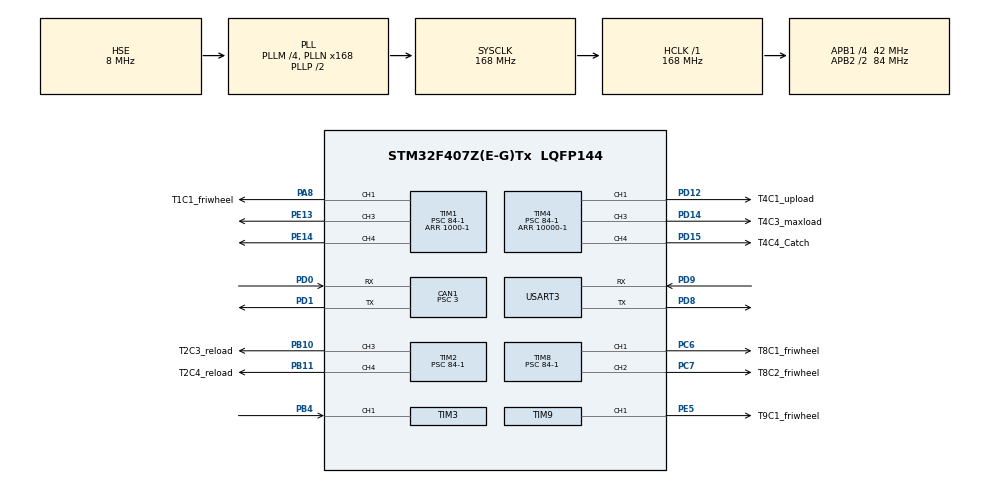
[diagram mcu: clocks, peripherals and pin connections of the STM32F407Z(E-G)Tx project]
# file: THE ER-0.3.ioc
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CAN1.ABOM=ENABLE
CAN1.BS1=CAN_BS1_9TQ
CAN1.BS2=CAN_BS2_4TQ
CAN1.CalculateBaudRate=1000000
CAN1.CalculateTimeBit=1000
CAN1.CalculateTimeQuantum=71.42857142857143
CAN1.Prescaler=3
Dma.Request0=USART3_RX
Dma.USART3_RX.0.Direction=DMA_PERIPH_TO_MEMORY
Dma.USART3_RX.0.FIFOMode=DMA_FIFOMODE_DISABLE
Dma.USART3_RX.0.Instance=DMA1_Stream1
Dma.USART3_RX.0.MemDataAlignment=DMA_MDATAALIGN_BYTE
Dma.USART3_RX.0.MemInc=DMA_MINC_ENABLE
Dma.USART3_RX.0.Mode=DMA_CIRCULAR
Dma.USART3_RX.0.PeriphDataAlignment=DMA_PDATAALIGN_BYTE
Dma.USART3_RX.0.PeriphInc=DMA_PINC_DISABLE
Dma.USART3_RX.0.Priority=DMA_PRIORITY_VERY_HIGH
FREERTOS.Tasks01=defaultTask,1,128,StartDefaultTask,Default,NULL,Dynamic,NULL,NULL;myTask02,0,128,StartTask02,Default,NULL,Dynamic,NULL,NULL;myTask03,0,128,StartTask03,Default,NULL,Dynamic,NULL,NULL;myTask04,-3,128,StartTask04,Default,NULL,Dynamic,NULL,NULL;myTask05,0,128,StartTask05,Default,NULL,Dynamic,NULL,NULL
Mcu.Family=STM32F4
Mcu.Name=STM32F407Z(E-G)Tx
Mcu.Package=LQFP144
NVIC.CAN1_RX0_IRQn=true\:5\:0\:false\:false\:true\:true\:true\:true\:true
NVIC.CAN1_TX_IRQn=true\:5\:0\:false\:false\:true\:true\:true\:true\:true
NVIC.DMA1_Stream1_IRQn=true\:5\:0\:false\:false\:true\:true\:false\:true\:true
NVIC.PriorityGroup=NVIC_PRIORITYGROUP_4
NVIC.TIM6_DAC_IRQn=true\:5\:0\:false\:false\:true\:true\:true\:true\:true
NVIC.TIM7_IRQn=true\:15\:0\:false\:false\:true\:false\:false\:true\:true
NVIC.TimeBase=TIM7_IRQn
NVIC.TimeBaseIP=TIM7
NVIC.USART3_IRQn=true\:5\:0\:false\:false\:true\:true\:true\:true\:true
PA13.Mode=Serial_Wire
PA13.Signal=SYS_JTMS-SWDIO
PA14.Mode=Serial_Wire
PA14.Signal=SYS_JTCK-SWCLK
PA8.GPIO_Label=T1C1_friwheel
PA8.Signal=S_TIM1_CH1
PB10.GPIO_Label=T2C3_reload
PB10.Signal=S_TIM2_CH3
PB11.GPIO_Label=T2C4_reload
PB11.Signal=S_TIM2_CH4
PB4.Signal=S_TIM3_CH1
PC6.GPIO_Label=T8C1_friwheel
PC6.Signal=S_TIM8_CH1
PC7.GPIO_Label=T8C2_friwheel
PC7.Signal=S_TIM8_CH2
PD0.Mode=CAN_Activate
PD0.Signal=CAN1_RX
PD1.Mode=CAN_Activate
PD1.Signal=CAN1_TX
PD12.GPIO_Label=T4C1_upload
PD12.Signal=S_TIM4_CH1
PD14.GPIO_Label=T4C3_maxload
PD14.Signal=S_TIM4_CH3
PD15.GPIO_Label=T4C4_Catch
PD15.Signal=S_TIM4_CH4
PD8.Mode=Asynchronous
PD8.Signal=USART3_TX
PD9.GPIO_PuPd=GPIO_PULLUP
PD9.Mode=Asynchronous
PD9.Signal=USART3_RX
PE13.Signal=S_TIM1_CH3
PE14.Signal=S_TIM1_CH4
PE5.GPIO_Label=T9C1_friwheel
PE5.Signal=S_TIM9_CH1
PH0-OSC_IN.Mode=HSE-External-Oscillator
PH0-OSC_IN.Signal=RCC_OSC_IN
PH1-OSC_OUT.Mode=HSE-External-Oscillator
PH1-OSC_OUT.Signal=RCC_OSC_OUT
ProjectManager.HeapSize=0x200
ProjectManager.StackSize=0x400
ProjectManager.TargetToolchain=MDK-ARM V5.32
RCC.48MHZClocksFreq_Value=84000000
RCC.AHBFreq_Value=168000000
RCC.APB1CLKDivider=RCC_HCLK_DIV4
RCC.APB1Freq_Value=42000000
RCC.APB1TimFreq_Value=84000000
RCC.APB2CLKDivider=RCC_HCLK_DIV2
RCC.APB2Freq_Value=84000000
RCC.APB2TimFreq_Value=168000000
RCC.CortexFreq_Value=168000000
RCC.EnbaleCSS=true
RCC.HCLKFreq_Value=168000000
RCC.HSE_VALUE=8000000
RCC.HSI_VALUE=16000000
RCC.LSE_VALUE=32768
RCC.PLLM=4
RCC.PLLN=168
RCC.PLLSourceVirtual=RCC_PLLSOURCE_HSE
RCC.SYSCLKFreq_VALUE=168000000
RCC.SYSCLKSource=RCC_SYSCLKSOURCE_PLLCLK
RCC.VCOOutputFreq_Value=336000000
SH.S_TIM1_CH1.0=TIM1_CH1,PWM Generation1 CH1
SH.S_TIM1_CH3.0=TIM1_CH3,PWM Generation3 CH3
SH.S_TIM1_CH4.0=TIM1_CH4,PWM Generation4 CH4
SH.S_TIM2_CH3.0=TIM2_CH3,PWM Generation3 CH3
SH.S_TIM2_CH4.0=TIM2_CH4,PWM Generation4 CH4
SH.S_TIM3_CH1.0=TIM3_CH1,PWM_Input_1
SH.S_TIM4_CH1.0=TIM4_CH1,PWM Generation1 CH1
SH.S_TIM4_CH3.0=TIM4_CH3,PWM Generation3 CH3
SH.S_TIM4_CH4.0=TIM4_CH4,PWM Generation4 CH4
SH.S_TIM8_CH1.0=TIM8_CH1,PWM Generation1 CH1
SH.S_TIM8_CH2.0=TIM8_CH2,PWM Generation2 CH2
SH.S_TIM9_CH1.0=TIM9_CH1,PWM Generation1 CH1
STMicroelectronics.X-CUBE-ALGOBUILD.1.3.0.LibraryCcDSPOoLibraryJjDSPOoLibrary=true
TIM1.Channel-PWM\ Generation1\ CH1=TIM_CHANNEL_1
TIM1.Channel-PWM\ Generation3\ CH3=TIM_CHANNEL_3
TIM1.Channel-PWM\ Generation4\ CH4=TIM_CHANNEL_4
TIM1.Period=1000-1
TIM1.Prescaler=84-1
TIM2.AutoReloadPreload=TIM_AUTORELOAD_PRELOAD_ENABLE
TIM2.Channel-PWM\ Generation3\ CH3=TIM_CHANNEL_3
TIM2.Channel-PWM\ Generation4\ CH4=TIM_CHANNEL_4
TIM2.Period=10000-1
TIM2.Prescaler=84-1
TIM3.Prescaler=2-1
TIM4.AutoReloadPreload=TIM_AUTORELOAD_PRELOAD_ENABLE
TIM4.Channel-PWM\ Generation1\ CH1=TIM_CHANNEL_1
TIM4.Channel-PWM\ Generation3\ CH3=TIM_CHANNEL_3
TIM4.Channel-PWM\ Generation4\ CH4=TIM_CHANNEL_4
TIM4.OCPolarity_3=TIM_OCPOLARITY_HIGH
TIM4.Period=10000-1
TIM4.Prescaler=84-1
TIM6.Period=10000-1
TIM6.Prescaler=84-1
TIM8.Channel-PWM\ Generation1\ CH1=TIM_CHANNEL_1
TIM8.Channel-PWM\ Generation2\ CH2=TIM_CHANNEL_2
TIM8.Period=10000-1
TIM8.Prescaler=84-1
TIM9.AutoReloadPreload=TIM_AUTORELOAD_PRELOAD_ENABLE
TIM9.Channel-PWM\ Generation1\ CH1=TIM_CHANNEL_1
TIM9.Period=10000-1
TIM9.Prescaler=84-1
USART3.VirtualMode=VM_ASYNC
VP_FREERTOS_VS_CMSIS_V1.Mode=CMSIS_V1
VP_IWDG_VS_IWDG.Mode=IWDG_Activate
VP_STMicroelectronics.X-CUBE-ALGOBUILD_VS_DSPOoLibraryJjLibrary_1.3.0_1.3.0.Mode=DSPOoLibraryJjLibrary
VP_SYS_VS_tim7.Mode=TIM7
VP_TIM1_VS_ClockSourceINT.Mode=Internal
VP_TIM2_VS_ClockSourceINT.Mode=Internal
VP_TIM3_VS_ClockSourceINT.Mode=Internal
VP_TIM4_VS_ClockSourceINT.Mode=Internal
VP_TIM6_VS_ClockSourceINT.Mode=Enable_Timer
VP_TIM8_VS_ClockSourceINT.Mode=Internal
VP_TIM9_VS_ClockSourceINT.Mode=Internal
board=custom

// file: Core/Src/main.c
/* USER CODE BEGIN Header */
/**
  ******************************************************************************
  * @file           : main.c
  * @brief          : Main program body
  ******************************************************************************
  * @attention
  *
  * Copyright (c) 2023 STMicroelectronics.
  * All rights reserved.
  *
  * This software is licensed under terms that can be found in the LICENSE file
  * in the root directory of this software component.
  * If no LICENSE file comes with this software, it is provided AS-IS.
  *
  ******************************************************************************
  */
/* USER CODE END Header */
#include "main.h"
#include "cmsis_os.h"
#include "can.h"
#include "dma.h"
#include "iwdg.h"
#include "tim.h"
#include "usart.h"
#include "gpio.h"

/* USER CODE BEGIN Includes */
#include "bsp_can.h"
#include <stdio.h>
#include <string.h>
#include "friction.h"
#include "pick.h"
#include "pitch.h"
#include "chassis.h"

#include "pitch_init.h"
/* USER CODE END Includes */

/* USER CODE BEGIN PTD */
/*

#define ch_vx_s1 	1
#define ch_vy_s1  0
#define ch_wx_s1 	3
#define ch_re_s1  2  // first to 160 than load
#define ch_up_s1  6  // tap to up load
#define ch_fr_s1  5  // up and donw // or
#define ch_ca_s1  4  // two type
#define ch_pi_s1  7  // the pich

*/

uint8_t receive_buff[8] = {127,127,255,127,127,127,0,0}; // init
uint8_t tx_buff[255];

int state = 0; // swatch dog

/* USER CODE END PTD */

void SystemClock_Config(void);
void MX_FREERTOS_Init(void);
/* USER CODE BEGIN PFP */
int32_t set_spd = 0;
/* USER CODE END PFP */

int main(void)
{

  /* MCU Configuration--------------------------------------------------------*/

  /* Reset of all peripherals, Initializes the Flash interface and the Systick. */
  HAL_Init();

  /* Configure the system clock */
  SystemClock_Config();

  /* Initialize all configured peripherals */
  MX_GPIO_Init();
  MX_DMA_Init();
  MX_CAN1_Init();
  MX_USART3_UART_Init();
  MX_TIM6_Init();
  MX_TIM1_Init();
  MX_TIM4_Init();
  MX_TIM8_Init();
  MX_TIM9_Init();
  MX_TIM3_Init();
  MX_TIM2_Init();
  MX_IWDG_Init();
  /* USER CODE BEGIN 2 */

	HAL_IWDG_Init(&hiwdg);

		HAL_TIM_PWM_Init(&htim1);
	__HAL_UART_ENABLE_IT(&huart3, UART_IT_IDLE);         //使能串UART1 IDLE中断
		HAL_UART_Receive_DMA(&huart3, (uint8_t*)receive_buff, 255);   //设置DMA传输，串�?1的数据搬运到recvive_buff中，

	can_filter_init();
	HAL_CAN_Start(&hcan1);
	HAL_CAN_ActivateNotification(&hcan1, CAN_IT_RX_FIFO0_MSG_PENDING);
	HAL_TIM_Base_Start_IT(&htim6);

	// friction wheel
	HAL_TIM_PWM_Start(&htim1, TIM_CHANNEL_1);
  HAL_TIM_PWM_Start(&htim8, TIM_CHANNEL_1);
  HAL_TIM_PWM_Start(&htim8, TIM_CHANNEL_2);
  HAL_TIM_PWM_Start(&htim9, TIM_CHANNEL_1);
	// friction wheel
	FRICTION_InitMotor(0, &htim1, &htim8, TIM_CHANNEL_1, TIM_CHANNEL_2);
  FRICTION_InitMotor(1, &htim8, &htim9, TIM_CHANNEL_1, TIM_CHANNEL_1);

	// upload servo
	HAL_TIM_PWM_Start(&htim4, TIM_CHANNEL_1); // PD 12
	PICK_InitMotor(0, &htim4, TIM_CHANNEL_1); // upload - 0

	PICK_Run_Pulse(0, 10000-2500);

//	HAL_Delay(500);
	// reload servo

	HAL_TIM_PWM_Start(&htim2, TIM_CHANNEL_3); // PB 10
	HAL_TIM_PWM_Start(&htim2, TIM_CHANNEL_4); // PB 11
	PICK_InitMotor(1, &htim2, TIM_CHANNEL_3); // reload- 1 the one 500
	PICK_InitMotor(2, &htim2, TIM_CHANNEL_4); // reload- 2

	PICK_Run_Pulse(1, 10000-510);
	PICK_Run_Pulse(2, 10000-(3000-510));

//	HAL_Delay(500);
	// maxload  servo

	// ingnore it first
	HAL_TIM_PWM_Start(&htim4, TIM_CHANNEL_3); // PD 14
	PICK_InitMotor(3, &htim4, TIM_CHANNEL_3); // max load- 3

	PICK_Run_Pulse(3, 10000-520);

//	HAL_Delay(500);
	// catch servo
	HAL_TIM_PWM_Start(&htim4, TIM_CHANNEL_4); // PD 15
	PICK_InitMotor(4, &htim4, TIM_CHANNEL_4); // catch- 4

	PICK_Run_Pulse(4, 10000-550);
	HAL_IWDG_Refresh(&hiwdg);

//	HAL_Delay(500);

	// pitch init
	HAL_TIM_PWM_Start(&htim1, TIM_CHANNEL_3);
	HAL_TIM_PWM_Start(&htim1, TIM_CHANNEL_4);
	HAL_TIM_IC_Start_IT(&htim3, TIM_CHANNEL_1);
  HAL_TIM_IC_Start_IT(&htim3, TIM_CHANNEL_2);
	Pitch_InitMotor(0, &htim1, &htim3, TIM_CHANNEL_4, TIM_CHANNEL_3, 1, 0, 0);
	pitch_init();

//	pid_pitch_control(180);

	// chassis_init
	chassis_init();

	CAN_cmd_chassis(0,0,0,0);

  /* USER CODE END 2 */

  /* Call init function for freertos objects (in freertos.c) */
  MX_FREERTOS_Init();

  /* Start scheduler */
  osKernelStart();
  /* We should never get here as control is now taken by the scheduler */
  /* Infinite loop */
  while (1)
  {

  }
}

void SystemClock_Config(void)
{
  RCC_OscInitTypeDef RCC_OscInitStruct = {0};
  RCC_ClkInitTypeDef RCC_ClkInitStruct = {0};

  /** Configure the main internal regulator output voltage
  */
  __HAL_RCC_PWR_CLK_ENABLE();
  __HAL_PWR_VOLTAGESCALING_CONFIG(PWR_REGULATOR_VOLTAGE_SCALE1);

  /** Initializes the RCC Oscillators according to the specified parameters
  * in the RCC_OscInitTypeDef structure.
  */
  RCC_OscInitStruct.OscillatorType = RCC_OSCILLATORTYPE_LSI|RCC_OSCILLATORTYPE_HSE;
  RCC_OscInitStruct.HSEState = RCC_HSE_ON;
  RCC_OscInitStruct.LSIState = RCC_LSI_ON;
  RCC_OscInitStruct.PLL.PLLState = RCC_PLL_ON;
  RCC_OscInitStruct.PLL.PLLSource = RCC_PLLSOURCE_HSE;
  RCC_OscInitStruct.PLL.PLLM = 4;
  RCC_OscInitStruct.PLL.PLLN = 168;
  RCC_OscInitStruct.PLL.PLLP = RCC_PLLP_DIV2;
  RCC_OscInitStruct.PLL.PLLQ = 4;
  if (HAL_RCC_OscConfig(&RCC_OscInitStruct) != HAL_OK)
  {
    Error_Handler();
  }

  /** Initializes the CPU, AHB and APB buses clocks
  */
  RCC_ClkInitStruct.ClockType = RCC_CLOCKTYPE_HCLK|RCC_CLOCKTYPE_SYSCLK
                              |RCC_CLOCKTYPE_PCLK1|RCC_CLOCKTYPE_PCLK2;
  RCC_ClkInitStruct.SYSCLKSource = RCC_SYSCLKSOURCE_PLLCLK;
  RCC_ClkInitStruct.AHBCLKDivider = RCC_SYSCLK_DIV1;
  RCC_ClkInitStruct.APB1CLKDivider = RCC_HCLK_DIV4;
  RCC_ClkInitStruct.APB2CLKDivider = RCC_HCLK_DIV2;

  if (HAL_RCC_ClockConfig(&RCC_ClkInitStruct, FLASH_LATENCY_5) != HAL_OK)
  {
    Error_Handler();
  }

  /** Enables the Clock Security System
  */
  HAL_RCC_EnableCSS();
}

void HAL_TIM_PeriodElapsedCallback(TIM_HandleTypeDef *htim)
{
  if (htim->Instance == TIM7) {
    HAL_IncTick();
  }
  /* USER CODE BEGIN Callback 1 */
	if (htim == &htim6){

		state --;
		if(state <= 0){

			CAN_cmd_chassis(0,0,0,0);

	//		FRICTION_SetThrottle(0, 0);
	//		FRICTION_SetThrottle(1, 0);
	//		FRICTION_Run(0);
	//		FRICTION_Run(1);

		}

	}

  /* USER CODE END Callback 1 */
}

void Error_Handler(void)
{
  __disable_irq();
  while (1)
  {
  }
}

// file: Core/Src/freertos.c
/* USER CODE BEGIN Header */
/**
  ******************************************************************************
  * File Name          : freertos.c
  * Description        : Code for freertos applications
  ******************************************************************************
  * @attention
  *
  * Copyright (c) 2023 STMicroelectronics.
  * All rights reserved.
  *
  * This software is licensed under terms that can be found in the LICENSE file
  * in the root directory of this software component.
  * If no LICENSE file comes with this software, it is provided AS-IS.
  *
  ******************************************************************************
  */
/* USER CODE END Header */

#include "FreeRTOS.h"
#include "task.h"
#include "main.h"
#include "cmsis_os.h"

/* USER CODE BEGIN Includes */
#include "stm32f4xx_hal.h"

#include <stdio.h>
#include <stdint.h>
#include "bsp_can.h"
#include "chassis.h"
#include "usart.h"
#include "string.h"
#include "pick.h"
#include "friction.h"
#include "pitch.h"
#include "iwdg.h"
#include "pitch_init.h"
/* USER CODE END Includes */

/* USER CODE BEGIN PTD */

#define weight 20  // the speed weight
#define DEAD_ZONE_MV 5

#define ch_vx_s1 	1
#define ch_vy_s1  0
#define ch_wx_s1 	3
#define ch_re_s1  2  // first to 160 than load
#define ch_up_s1  6  // tap to up load
#define ch_fr_s1  5  // up and donw // or
#define ch_ca_s1  4  // two type
#define ch_pi_s1  7  // the pich

#define reloadangle 50
#define upperangle   85
#define lowerangle   40

// 定义常量，用于表示数组的�?

const int ARRAY_SIZE = 8;

// 定义常量，用于表示死区的�?

const int DEAD_ZONE = 30 ;

int n = 0;
/* USER CODE END PTD */

/* USER CODE BEGIN Variables */
extern uint8_t tx_buff[255];   //  tf
extern uint8_t receive_buff[8];// original  data
int filter_buff[8];           //  filter  data

extern const motor_measure_t   *motor_data[4]; // 3508 data
extern float wheel_speed[4];                   // 3508 speed
extern float  vx, vy,wz ;                      // vector speed

extern int state ; // watch dog

float Position = 0 ;    														// pitch postion read
float target_position = 180 ;                      //  TGT postion

void filter_array(uint8_t* arr); // filter function
int my_abs(int x);               // abs cc
int map_value(int x);            // map
int map_fire(int x);

int speed_fire    = 0 ;   // fire speed

int state_fire    =0 ; // state_fire
int state_last_fire = 0; //  last fire
int state_reload  =0 ; // state_reload
int state_last_reload = 0 ; // state_last
int state_upload  =0; // state_upload
int state_last_upload = 0; // last_upload
int state_catch   =0; // state_catch
int state_last_catch = 0;
int state_maxload =0; // state_maxload  // 0 - closed  1 - opened
int catch_delay = 0;
int reload_time = 0;
/* for debug
int p = 0;
float a = 0.0f;
*/
/* USER CODE END Variables */
osThreadId defaultTaskHandle;
osThreadId myTask02Handle;
osThreadId myTask03Handle;
osThreadId myTask04Handle;
osThreadId myTask05Handle;

void StartDefaultTask(void const * argument);
void StartTask02(void const * argument);
void StartTask03(void const * argument);
void StartTask04(void const * argument);
void StartTask05(void const * argument);

void MX_FREERTOS_Init(void); /* (MISRA C 2004 rule 8.1) */

/* GetIdleTaskMemory prototype (linked to static allocation support) */
void vApplicationGetIdleTaskMemory( StaticTask_t **ppxIdleTaskTCBBuffer, StackType_t **ppxIdleTaskStackBuffer, uint32_t *pulIdleTaskStackSize );

/* USER CODE BEGIN GET_IDLE_TASK_MEMORY */
static StaticTask_t xIdleTaskTCBBuffer;
static StackType_t xIdleStack[configMINIMAL_STACK_SIZE];

void vApplicationGetIdleTaskMemory( StaticTask_t **ppxIdleTaskTCBBuffer, StackType_t **ppxIdleTaskStackBuffer, uint32_t *pulIdleTaskStackSize )
{
  *ppxIdleTaskTCBBuffer = &xIdleTaskTCBBuffer;
  *ppxIdleTaskStackBuffer = &xIdleStack[0];
  *pulIdleTaskStackSize = configMINIMAL_STACK_SIZE;
  /* place for user code */
}
/* USER CODE END GET_IDLE_TASK_MEMORY */

void MX_FREERTOS_Init(void) {

  /* Create the thread(s) */
  /* definition and creation of defaultTask */
  osThreadDef(defaultTask, StartDefaultTask, osPriorityAboveNormal, 0, 128);
  defaultTaskHandle = osThreadCreate(osThread(defaultTask), NULL);

  /* definition and creation of myTask02 */
  osThreadDef(myTask02, StartTask02, osPriorityNormal, 0, 128);
  myTask02Handle = osThreadCreate(osThread(myTask02), NULL);

  /* definition and creation of myTask03 */
  osThreadDef(myTask03, StartTask03, osPriorityNormal, 0, 128);
  myTask03Handle = osThreadCreate(osThread(myTask03), NULL);

  /* definition and creation of myTask04 */
  osThreadDef(myTask04, StartTask04, osPriorityIdle, 0, 128);
  myTask04Handle = osThreadCreate(osThread(myTask04), NULL);

  /* definition and creation of myTask05 */
  osThreadDef(myTask05, StartTask05, osPriorityNormal, 0, 128);
  myTask05Handle = osThreadCreate(osThread(myTask05), NULL);

}

void StartDefaultTask(void const * argument)
{
  /* USER CODE BEGIN StartDefaultTask */

	// in this task we mainly focus on data processing

  /* Infinite loop */
	for(;;)
  {
		filter_array(receive_buff);

		if(state >0 ){

			// chassis
			vx = (filter_buff[ch_vx_s1] - 127)* weight;
			vy = (filter_buff[ch_vy_s1] - 127)* weight;
			wz = (filter_buff[ch_wx_s1] - 127)* weight;

			//pitch
		//	target_position = map_value(filter_buff[ch_pi_s1]);
			target_position = map_value(receive_buff[ch_pi_s1]);

			//reload

			if(filter_buff[ch_re_s1] > 150 ){

				state_reload = 0 ;
				reload_time = 0;

			}else if(filter_buff[ch_re_s1] < 90){

				state_reload = 1 ;
				if(reload_time == 0){

				target_position = lowerangle  ;
							if(Position <= lowerangle + 5 ){
								reload_time = 1;
							}

				}
				else if(reload_time == 1){
				target_position = reloadangle  ; //
				}

			//	target_position = 150;

			}else if(filter_buff[ch_re_s1] < 150 && filter_buff[ch_re_s1] > 90 ){

				state_reload = -1 ;
				if(reload_time == 0){

				target_position = lowerangle  ;
							if(Position  <= lowerangle + 2 ){
								reload_time = 1;
							}
				}
				else if(reload_time == 1){
				target_position = reloadangle  ; //

				}
			//	target_position = 150; //

			}

			//catch

			if(filter_buff[ch_ca_s1] > 150 ){

				state_catch = -1 ;

			}else if(filter_buff[ch_ca_s1] < 90){

				state_catch = 1 ;

			}else if(filter_buff[ch_ca_s1] < 150 && filter_buff[ch_ca_s1] > 90  )
			{
				state_catch = 0 ;

			}

			//upload
			if(filter_buff[ch_up_s1] >= 127 ){

				state_upload = 0 ;

			}else if(filter_buff[ch_up_s1] < 90){

				state_upload = 1 ;

			}

			//fire

			/*
			if(filter_buff[ch_fr_s1] >= 127 ){

				state_fire = 0 ;

			}else if(filter_buff[ch_fr_s1] < 127){

				state_fire= 1 ;

			}*/

			speed_fire = map_fire(filter_buff[ch_fr_s1]) ;

		}

    osDelay(10);

	}
  /* USER CODE END StartDefaultTask */
}

void StartTask02(void const * argument)
{
  /* USER CODE BEGIN StartTask02 */

  /* Infinite loop */
  for(;;)
  {
		if(state >=0){

			//reload a complex relad
			if(state_reload == 0){

						if((state_last_reload == 1 || state_last_reload == -1 ) && catch_delay == 1){

								int pulse = 700 ;

								while(pulse >= 550){

								PICK_Run_Pulse(1,10000-pulse);
								PICK_Run_Pulse(2,10000-(3000-pulse));

								osDelay(500);
								pulse -= 50;
								}

						catch_delay = 0;

						}

								if(state_catch !=  -1){

												if(state_last_catch == -1){
																	int pulse1 = 700 ;

																	while(pulse1 >= 550){

																	PICK_Run_Pulse(1,10000-pulse1);
																	PICK_Run_Pulse(2,10000-(3000-pulse1));

																	osDelay(500);
																	pulse1 -= 50;
																}
																n+= 1;
													}

											PICK_Run_Pulse(1,10000-510);
											PICK_Run_Pulse(2,10000-(3000-510));

											state_last_catch = state_catch ;

								}else if(state_catch == -1){

											PICK_Run_Pulse(1,10000-1710);
											PICK_Run_Pulse(2,10000-(3000-1710));
											state_last_catch = state_catch ;

								}

							if(state_maxload == 1 ){

								PICK_Run_Pulse(3,10000-520);
								state_maxload  = 0 ;

							}

			catch_delay = 0;
			state_last_reload = state_reload;

			}

			else if(state_reload == 1){

				speed_fire = 0;

				if(state_last_reload == -1){

						PICK_Run_Pulse(1,10000-2090);
						PICK_Run_Pulse(2,10000-(3000-2090));

						osDelay(700);

						if(state_maxload ==1 ){

						PICK_Run_Pulse(3,10000-520);

						}

						osDelay(500);

						PICK_Run_Pulse(4,10000-600);

				}
			catch_delay = 1;
			state_last_reload = state_reload  ;

			}
			else if(state_reload == -1){

				if(state_maxload == 1 && state_last_reload != -1 ){

				PICK_Run_Pulse(3,10000-520);
				state_maxload = 0 ;

				}
				else if(state_maxload == 0 && state_last_reload != -1){

				PICK_Run_Pulse(3,10000-1500);

				state_maxload = 1;
				}

			state_last_reload = state_reload  ;

			}

			//maxload

			/*
			if(state_fire == 0  ){

				__HAL_TIM_SET_COMPARE(&htim1,TIM_CHANNEL_1, 0);
				__HAL_TIM_SET_COMPARE(&htim8,TIM_CHANNEL_2, 0);
				__HAL_TIM_SET_COMPARE(&htim8,TIM_CHANNEL_1, 0);
				__HAL_TIM_SET_COMPARE(&htim9,TIM_CHANNEL_1, 0);

			}else if(state_fire == 1){

				__HAL_TIM_SET_COMPARE(&htim1,TIM_CHANNEL_1, 10000);
				__HAL_TIM_SET_COMPARE(&htim8,TIM_CHANNEL_2, 10000);
				__HAL_TIM_SET_COMPARE(&htim8,TIM_CHANNEL_1, 10000);
				__HAL_TIM_SET_COMPARE(&htim9,TIM_CHANNEL_1, 10000);
					// fire in task4

				}*/

			//catch
			if(state_catch == 0 && state_reload != 1 && state_reload != -1){

					PICK_Run_Pulse(4,10000-600);
			//	state_last_catch = state_catch ;

			}else if(state_catch == 1 && state_reload != 1 && state_reload != -1){

				PICK_Run_Pulse(4,10000-1200);
		//	state_last_catch = state_catch ;
			}

			// upload

			if(state_upload == 0 ){

					PICK_Run_Pulse(0, 10000-2500);

			}else if(state_upload == 1){

					PICK_Run_Pulse(0, 10000-1100);

				}

			}

    osDelay(1);
  }
  /* USER CODE END StartTask02 */
}

void StartTask03(void const * argument)
{
  /* USER CODE BEGIN StartTask03 */
	// in this task we focus on data read

  /* Infinite loop */
  for(;;)
  {
		if(state > 0){
			chassis_vector_to_mecanum_wheel_speed(vx,vy,wz,wheel_speed);
			chassis_control_loop(wheel_speed);

			if(state_reload == 1){
					speed_fire = 0;

			}
				__HAL_TIM_SET_COMPARE(&htim1,TIM_CHANNEL_1, speed_fire);
				__HAL_TIM_SET_COMPARE(&htim8,TIM_CHANNEL_2, speed_fire);
				__HAL_TIM_SET_COMPARE(&htim8,TIM_CHANNEL_1, speed_fire);
				__HAL_TIM_SET_COMPARE(&htim9,TIM_CHANNEL_1, speed_fire);

		}

    osDelay(1);
  }
  /* USER CODE END StartTask03 */
}

void StartTask04(void const * argument)
{
  /* USER CODE BEGIN StartTask04 */
  /* Infinite loop */
  for(;;)
  {

		HAL_IWDG_Refresh(&hiwdg);  // hiwdg

		Position = Pitch_Get_Position(0);
		// chassis

		chassis_state_update();
    osDelay(1);
  }
  /* USER CODE END StartTask04 */
}

void StartTask05(void const * argument)
{
  /* USER CODE BEGIN StartTask05 */
  /* Infinite loop */
  for(;;)
  {
		if(state >0){

				// pitch
			pid_pitch_control(target_position,state_reload);
		}
    osDelay(1);
  }
  /* USER CODE END StartTask05 */
}

/* USER CODE BEGIN Application */

// data filter

void filter_array(uint8_t* arr) {

    int last_value = arr[0];
    // 遍历输入数组中的每个元素
    for (int i = 0; i < ARRAY_SIZE; i++) {
        // 如果当前元素和上丿次的�?�相差很大（比如大于100�?
        if (my_abs(arr[i] - last_value) > 100) {
            // 则保留上丿次的�??
            filter_buff[i] = last_value;
        }
        // 否则，如果当前元素在127附近有一个死�?
				else if(i == ch_vx_s1 || i == ch_vy_s1 || i == ch_wx_s1){

						if(arr[i] >= 127 - DEAD_ZONE_MV  && arr[i] <= 127 + DEAD_ZONE_MV ){
								arr[i] = 127;
						}

				}
        else if (arr[i] >= 127 - DEAD_ZONE && arr[i] <= 127 + DEAD_ZONE) {
            // 则将当前元素设为127
							arr[i] = 127;
        }
        // 否则，将当前元素保留
        else {
            // do nothing
        }
        // 更新上一次的�?
        filter_buff[i] = arr[i];
    }
	}

int my_abs(int x) {
    // 如果x是正数或者零，直接返回x
    if (x >= 0) {
        return x;
    }
    // 否则，用平方的方式来计算x的绝对忿
    else {
        // 定义丿个变量，用于存储x的平方根
        double sqrt_x = sqrt((double)x * x);
        // 将平方根转换为整数，并返�?
        return (int)sqrt_x;
    }

}

// 定义丿个函数，接收丿�?0-255的忼，返回丿�?200-160的忿
int map_value(int x) {
    // 定义丿个变量，用于存储输出结�?
    int y;
    // 如果x小于0，将其设�?0
    if (x < 0) {
        x = 0;
    }
    // 如果x大于255，将其设�?255
    if (x > 255) {
        x = 255;
    }
    // 根据线濧映射公式，计算y的忿
    y = upperangle + (lowerangle - upperangle )* (x) / 255;
    // 返回y的忿
    return y;
}

int map_fire(int x) {
  // 使用线濧插�?�的公式，y = y1 + (y2 - y1) * (x - x1) / (x2 - x1)
  // 其中，x1 = 0, x2 = 255, y1 = 8000, y2 = 10000
	 if (x < 60) {
    return 0;
  }

  int y = 2000 + (8000 - 2000) * (x - 60) / (255 - 60);

	if (x > 250) {
    return 10000;
  }

  return y ;
}

/* USER CODE END Application */
